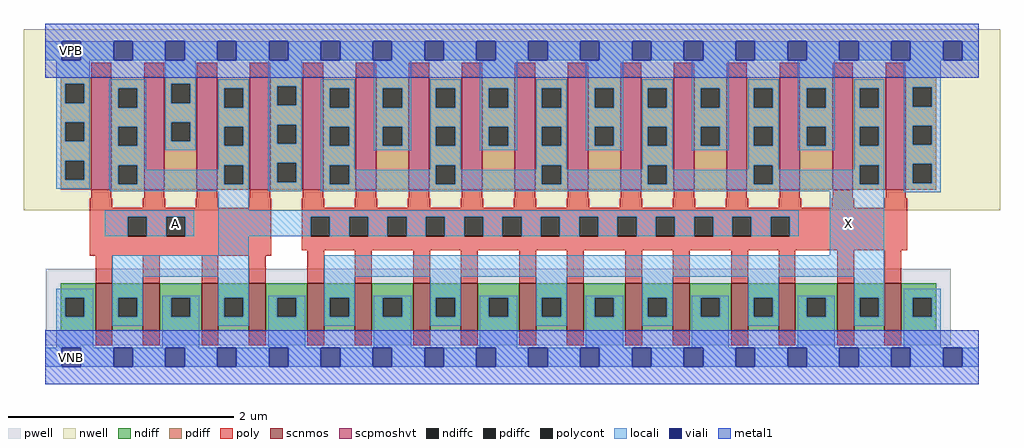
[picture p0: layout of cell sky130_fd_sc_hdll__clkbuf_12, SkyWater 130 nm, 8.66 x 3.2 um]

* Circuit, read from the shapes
.subckt sky130_fd_sc_hdll__clkbuf_12 A VGND VNB VPB VPWR X
XM1 n1 A VGND VNB sky130_fd_pr__nfet_01v8 w=0.42 l=0.15 m=4
XM2 X n1 VGND VNB sky130_fd_pr__nfet_01v8 w=0.42 l=0.15 m=12
XM3 n1 A VPWR VPB sky130_fd_pr__pfet_01v8_hvt w=1 l=0.18 m=4
XM4 X n1 VPWR VPB sky130_fd_pr__pfet_01v8_hvt w=1 l=0.18 m=12
.ends

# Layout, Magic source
magic
tech sky130A
magscale 1 2
<< nwell >>
rect -38 261 1694 582
<< pwell >>
rect 1 21 1607 157
rect 29 -17 63 21
<< scnmos >>
rect 89 47 119 131
rect 173 47 203 131
rect 277 47 307 131
rect 361 47 391 131
rect 465 47 495 131
rect 549 47 579 131
rect 653 47 683 131
rect 737 47 767 131
rect 841 47 871 131
rect 925 47 955 131
rect 1029 47 1059 131
rect 1113 47 1143 131
rect 1217 47 1247 131
rect 1301 47 1331 131
rect 1405 47 1435 131
rect 1489 47 1519 131
<< scpmoshvt >>
rect 81 297 117 497
rect 175 297 211 497
rect 269 297 305 497
rect 363 297 399 497
rect 457 297 493 497
rect 551 297 587 497
rect 645 297 681 497
rect 739 297 775 497
rect 833 297 869 497
rect 927 297 963 497
rect 1021 297 1057 497
rect 1115 297 1151 497
rect 1209 297 1245 497
rect 1303 297 1339 497
rect 1397 297 1433 497
rect 1491 297 1527 497
<< ndiff >>
rect 27 106 89 131
rect 27 72 35 106
rect 69 72 89 106
rect 27 47 89 72
rect 119 106 173 131
rect 119 72 129 106
rect 163 72 173 106
rect 119 47 173 72
rect 203 106 277 131
rect 203 72 223 106
rect 257 72 277 106
rect 203 47 277 72
rect 307 106 361 131
rect 307 72 317 106
rect 351 72 361 106
rect 307 47 361 72
rect 391 106 465 131
rect 391 72 411 106
rect 445 72 465 106
rect 391 47 465 72
rect 495 106 549 131
rect 495 72 505 106
rect 539 72 549 106
rect 495 47 549 72
rect 579 106 653 131
rect 579 72 599 106
rect 633 72 653 106
rect 579 47 653 72
rect 683 106 737 131
rect 683 72 693 106
rect 727 72 737 106
rect 683 47 737 72
rect 767 106 841 131
rect 767 72 787 106
rect 821 72 841 106
rect 767 47 841 72
rect 871 106 925 131
rect 871 72 881 106
rect 915 72 925 106
rect 871 47 925 72
rect 955 106 1029 131
rect 955 72 975 106
rect 1009 72 1029 106
rect 955 47 1029 72
rect 1059 106 1113 131
rect 1059 72 1069 106
rect 1103 72 1113 106
rect 1059 47 1113 72
rect 1143 106 1217 131
rect 1143 72 1163 106
rect 1197 72 1217 106
rect 1143 47 1217 72
rect 1247 106 1301 131
rect 1247 72 1257 106
rect 1291 72 1301 106
rect 1247 47 1301 72
rect 1331 106 1405 131
rect 1331 72 1351 106
rect 1385 72 1405 106
rect 1331 47 1405 72
rect 1435 106 1489 131
rect 1435 72 1445 106
rect 1479 72 1489 106
rect 1435 47 1489 72
rect 1519 106 1581 131
rect 1519 72 1539 106
rect 1573 72 1581 106
rect 1519 47 1581 72
<< pdiff >>
rect 27 485 81 497
rect 27 451 35 485
rect 69 451 81 485
rect 27 417 81 451
rect 27 383 35 417
rect 69 383 81 417
rect 27 349 81 383
rect 27 315 35 349
rect 69 315 81 349
rect 27 297 81 315
rect 117 477 175 497
rect 117 443 129 477
rect 163 443 175 477
rect 117 409 175 443
rect 117 375 129 409
rect 163 375 175 409
rect 117 341 175 375
rect 117 307 129 341
rect 163 307 175 341
rect 117 297 175 307
rect 211 485 269 497
rect 211 451 223 485
rect 257 451 269 485
rect 211 417 269 451
rect 211 383 223 417
rect 257 383 269 417
rect 211 297 269 383
rect 305 477 363 497
rect 305 443 317 477
rect 351 443 363 477
rect 305 409 363 443
rect 305 375 317 409
rect 351 375 363 409
rect 305 341 363 375
rect 305 307 317 341
rect 351 307 363 341
rect 305 297 363 307
rect 399 481 457 497
rect 399 447 411 481
rect 445 447 457 481
rect 399 413 457 447
rect 399 379 411 413
rect 445 379 457 413
rect 399 345 457 379
rect 399 311 411 345
rect 445 311 457 345
rect 399 297 457 311
rect 493 477 551 497
rect 493 443 505 477
rect 539 443 551 477
rect 493 409 551 443
rect 493 375 505 409
rect 539 375 551 409
rect 493 341 551 375
rect 493 307 505 341
rect 539 307 551 341
rect 493 297 551 307
rect 587 477 645 497
rect 587 443 599 477
rect 633 443 645 477
rect 587 409 645 443
rect 587 375 599 409
rect 633 375 645 409
rect 587 297 645 375
rect 681 477 739 497
rect 681 443 693 477
rect 727 443 739 477
rect 681 409 739 443
rect 681 375 693 409
rect 727 375 739 409
rect 681 341 739 375
rect 681 307 693 341
rect 727 307 739 341
rect 681 297 739 307
rect 775 477 833 497
rect 775 443 787 477
rect 821 443 833 477
rect 775 409 833 443
rect 775 375 787 409
rect 821 375 833 409
rect 775 297 833 375
rect 869 477 927 497
rect 869 443 881 477
rect 915 443 927 477
rect 869 409 927 443
rect 869 375 881 409
rect 915 375 927 409
rect 869 341 927 375
rect 869 307 881 341
rect 915 307 927 341
rect 869 297 927 307
rect 963 477 1021 497
rect 963 443 975 477
rect 1009 443 1021 477
rect 963 409 1021 443
rect 963 375 975 409
rect 1009 375 1021 409
rect 963 297 1021 375
rect 1057 477 1115 497
rect 1057 443 1069 477
rect 1103 443 1115 477
rect 1057 409 1115 443
rect 1057 375 1069 409
rect 1103 375 1115 409
rect 1057 341 1115 375
rect 1057 307 1069 341
rect 1103 307 1115 341
rect 1057 297 1115 307
rect 1151 477 1209 497
rect 1151 443 1163 477
rect 1197 443 1209 477
rect 1151 409 1209 443
rect 1151 375 1163 409
rect 1197 375 1209 409
rect 1151 297 1209 375
rect 1245 477 1303 497
rect 1245 443 1257 477
rect 1291 443 1303 477
rect 1245 409 1303 443
rect 1245 375 1257 409
rect 1291 375 1303 409
rect 1245 341 1303 375
rect 1245 307 1257 341
rect 1291 307 1303 341
rect 1245 297 1303 307
rect 1339 477 1397 497
rect 1339 443 1351 477
rect 1385 443 1397 477
rect 1339 409 1397 443
rect 1339 375 1351 409
rect 1385 375 1397 409
rect 1339 297 1397 375
rect 1433 477 1491 497
rect 1433 443 1445 477
rect 1479 443 1491 477
rect 1433 409 1491 443
rect 1433 375 1445 409
rect 1479 375 1491 409
rect 1433 341 1491 375
rect 1433 307 1445 341
rect 1479 307 1491 341
rect 1433 297 1491 307
rect 1527 479 1581 497
rect 1527 445 1539 479
rect 1573 445 1581 479
rect 1527 411 1581 445
rect 1527 377 1539 411
rect 1573 377 1581 411
rect 1527 343 1581 377
rect 1527 309 1539 343
rect 1573 309 1581 343
rect 1527 297 1581 309
<< ndiffc >>
rect 35 72 69 106
rect 129 72 163 106
rect 223 72 257 106
rect 317 72 351 106
rect 411 72 445 106
rect 505 72 539 106
rect 599 72 633 106
rect 693 72 727 106
rect 787 72 821 106
rect 881 72 915 106
rect 975 72 1009 106
rect 1069 72 1103 106
rect 1163 72 1197 106
rect 1257 72 1291 106
rect 1351 72 1385 106
rect 1445 72 1479 106
rect 1539 72 1573 106
<< pdiffc >>
rect 35 451 69 485
rect 35 383 69 417
rect 35 315 69 349
rect 129 443 163 477
rect 129 375 163 409
rect 129 307 163 341
rect 223 451 257 485
rect 223 383 257 417
rect 317 443 351 477
rect 317 375 351 409
rect 317 307 351 341
rect 411 447 445 481
rect 411 379 445 413
rect 411 311 445 345
rect 505 443 539 477
rect 505 375 539 409
rect 505 307 539 341
rect 599 443 633 477
rect 599 375 633 409
rect 693 443 727 477
rect 693 375 727 409
rect 693 307 727 341
rect 787 443 821 477
rect 787 375 821 409
rect 881 443 915 477
rect 881 375 915 409
rect 881 307 915 341
rect 975 443 1009 477
rect 975 375 1009 409
rect 1069 443 1103 477
rect 1069 375 1103 409
rect 1069 307 1103 341
rect 1163 443 1197 477
rect 1163 375 1197 409
rect 1257 443 1291 477
rect 1257 375 1291 409
rect 1257 307 1291 341
rect 1351 443 1385 477
rect 1351 375 1385 409
rect 1445 443 1479 477
rect 1445 375 1479 409
rect 1445 307 1479 341
rect 1539 445 1573 479
rect 1539 377 1573 411
rect 1539 309 1573 343
<< poly >>
rect 81 497 117 523
rect 175 497 211 523
rect 269 497 305 523
rect 363 497 399 523
rect 457 497 493 523
rect 551 497 587 523
rect 645 497 681 523
rect 739 497 775 523
rect 833 497 869 523
rect 927 497 963 523
rect 1021 497 1057 523
rect 1115 497 1151 523
rect 1209 497 1245 523
rect 1303 497 1339 523
rect 1397 497 1433 523
rect 1491 497 1527 523
rect 81 282 117 297
rect 175 282 211 297
rect 269 282 305 297
rect 363 282 399 297
rect 457 282 493 297
rect 551 282 587 297
rect 645 282 681 297
rect 739 282 775 297
rect 833 282 869 297
rect 927 282 963 297
rect 1021 282 1057 297
rect 1115 282 1151 297
rect 1209 282 1245 297
rect 1303 282 1339 297
rect 1397 282 1433 297
rect 1491 282 1527 297
rect 79 265 119 282
rect 173 265 213 282
rect 267 265 307 282
rect 361 265 401 282
rect 79 249 401 265
rect 79 215 146 249
rect 180 215 214 249
rect 248 215 401 249
rect 79 180 401 215
rect 455 265 495 282
rect 549 265 589 282
rect 643 265 683 282
rect 737 265 777 282
rect 831 265 871 282
rect 925 265 965 282
rect 1019 265 1059 282
rect 1113 265 1153 282
rect 1207 265 1247 282
rect 1301 265 1341 282
rect 1395 265 1435 282
rect 1489 265 1529 282
rect 455 249 1529 265
rect 455 215 471 249
rect 505 215 539 249
rect 573 215 607 249
rect 641 215 675 249
rect 709 215 743 249
rect 777 215 811 249
rect 845 215 879 249
rect 913 215 947 249
rect 981 215 1015 249
rect 1049 215 1083 249
rect 1117 215 1151 249
rect 1185 215 1219 249
rect 1253 215 1287 249
rect 1321 215 1529 249
rect 455 190 1529 215
rect 89 131 119 180
rect 173 131 203 180
rect 277 131 307 180
rect 361 131 391 180
rect 465 131 495 190
rect 549 131 579 190
rect 653 131 683 190
rect 737 131 767 190
rect 841 131 871 190
rect 925 131 955 190
rect 1029 131 1059 190
rect 1113 131 1143 190
rect 1217 131 1247 190
rect 1301 131 1331 190
rect 1405 131 1435 190
rect 1489 131 1519 190
rect 89 21 119 47
rect 173 21 203 47
rect 277 21 307 47
rect 361 21 391 47
rect 465 21 495 47
rect 549 21 579 47
rect 653 21 683 47
rect 737 21 767 47
rect 841 21 871 47
rect 925 21 955 47
rect 1029 21 1059 47
rect 1113 21 1143 47
rect 1217 21 1247 47
rect 1301 21 1331 47
rect 1405 21 1435 47
rect 1489 21 1519 47
<< polycont >>
rect 146 215 180 249
rect 214 215 248 249
rect 471 215 505 249
rect 539 215 573 249
rect 607 215 641 249
rect 675 215 709 249
rect 743 215 777 249
rect 811 215 845 249
rect 879 215 913 249
rect 947 215 981 249
rect 1015 215 1049 249
rect 1083 215 1117 249
rect 1151 215 1185 249
rect 1219 215 1253 249
rect 1287 215 1321 249
<< locali >>
rect 0 527 29 561
rect 63 527 121 561
rect 155 527 213 561
rect 247 527 305 561
rect 339 527 397 561
rect 431 527 489 561
rect 523 527 581 561
rect 615 527 673 561
rect 707 527 765 561
rect 799 527 857 561
rect 891 527 949 561
rect 983 527 1041 561
rect 1075 527 1133 561
rect 1167 527 1225 561
rect 1259 527 1317 561
rect 1351 527 1409 561
rect 1443 527 1501 561
rect 1535 527 1593 561
rect 1627 527 1656 561
rect 19 485 79 527
rect 19 451 35 485
rect 69 451 79 485
rect 19 417 79 451
rect 19 383 35 417
rect 69 383 79 417
rect 19 349 79 383
rect 19 315 35 349
rect 69 315 79 349
rect 19 299 79 315
rect 113 477 179 493
rect 113 443 129 477
rect 163 443 179 477
rect 113 409 179 443
rect 113 375 129 409
rect 163 375 179 409
rect 113 341 179 375
rect 213 485 267 527
rect 213 451 223 485
rect 257 451 267 485
rect 213 417 267 451
rect 213 383 223 417
rect 257 383 267 417
rect 213 367 267 383
rect 307 477 361 493
rect 307 443 317 477
rect 351 443 361 477
rect 307 409 361 443
rect 307 375 317 409
rect 351 375 361 409
rect 113 307 129 341
rect 163 333 179 341
rect 307 341 361 375
rect 307 333 317 341
rect 163 307 317 333
rect 351 307 361 341
rect 113 299 361 307
rect 114 295 361 299
rect 395 481 455 527
rect 395 447 411 481
rect 445 447 455 481
rect 395 413 455 447
rect 395 379 411 413
rect 445 379 455 413
rect 395 345 455 379
rect 395 311 411 345
rect 445 311 455 345
rect 395 295 455 311
rect 489 477 549 493
rect 489 443 505 477
rect 539 443 549 477
rect 489 409 549 443
rect 489 375 505 409
rect 539 375 549 409
rect 489 341 549 375
rect 583 477 649 527
rect 583 443 599 477
rect 633 443 649 477
rect 583 409 649 443
rect 583 375 599 409
rect 633 375 649 409
rect 583 367 649 375
rect 683 477 737 493
rect 683 443 693 477
rect 727 443 737 477
rect 683 409 737 443
rect 683 375 693 409
rect 727 375 737 409
rect 489 307 505 341
rect 539 333 549 341
rect 683 341 737 375
rect 771 477 837 527
rect 771 443 787 477
rect 821 443 837 477
rect 771 409 837 443
rect 771 375 787 409
rect 821 375 837 409
rect 771 367 837 375
rect 871 477 925 493
rect 871 443 881 477
rect 915 443 925 477
rect 871 409 925 443
rect 871 375 881 409
rect 915 375 925 409
rect 683 333 693 341
rect 539 307 693 333
rect 727 333 737 341
rect 871 341 925 375
rect 959 477 1025 527
rect 959 443 975 477
rect 1009 443 1025 477
rect 959 409 1025 443
rect 959 375 975 409
rect 1009 375 1025 409
rect 959 367 1025 375
rect 1059 477 1113 493
rect 1059 443 1069 477
rect 1103 443 1113 477
rect 1059 409 1113 443
rect 1059 375 1069 409
rect 1103 375 1113 409
rect 871 333 881 341
rect 727 307 881 333
rect 915 333 925 341
rect 1059 341 1113 375
rect 1147 477 1213 527
rect 1147 443 1163 477
rect 1197 443 1213 477
rect 1147 409 1213 443
rect 1147 375 1163 409
rect 1197 375 1213 409
rect 1147 367 1213 375
rect 1247 477 1301 493
rect 1247 443 1257 477
rect 1291 443 1301 477
rect 1247 409 1301 443
rect 1247 375 1257 409
rect 1291 375 1301 409
rect 1059 333 1069 341
rect 915 307 1069 333
rect 1103 333 1113 341
rect 1247 341 1301 375
rect 1335 477 1401 527
rect 1335 443 1351 477
rect 1385 443 1401 477
rect 1335 409 1401 443
rect 1335 375 1351 409
rect 1385 375 1401 409
rect 1335 367 1401 375
rect 1435 477 1489 493
rect 1435 443 1445 477
rect 1479 443 1489 477
rect 1435 409 1489 443
rect 1435 375 1445 409
rect 1479 375 1489 409
rect 1247 333 1257 341
rect 1103 307 1257 333
rect 1291 333 1301 341
rect 1435 341 1489 375
rect 1435 333 1445 341
rect 1291 307 1445 333
rect 1479 307 1489 341
rect 489 295 1489 307
rect 307 261 361 295
rect 105 249 264 261
rect 105 215 146 249
rect 180 215 214 249
rect 248 215 264 249
rect 307 249 1337 261
rect 307 215 471 249
rect 505 215 539 249
rect 573 215 607 249
rect 641 215 675 249
rect 709 215 743 249
rect 777 215 811 249
rect 845 215 879 249
rect 913 215 947 249
rect 981 215 1015 249
rect 1049 215 1083 249
rect 1117 215 1151 249
rect 1185 215 1219 249
rect 1253 215 1287 249
rect 1321 215 1337 249
rect 307 181 361 215
rect 1392 181 1489 295
rect 1523 479 1589 527
rect 1523 445 1539 479
rect 1573 445 1589 479
rect 1523 411 1589 445
rect 1523 377 1539 411
rect 1573 377 1589 411
rect 1523 343 1589 377
rect 1523 309 1539 343
rect 1573 309 1589 343
rect 1523 293 1589 309
rect 119 143 361 181
rect 19 106 85 122
rect 19 72 35 106
rect 69 72 85 106
rect 19 17 85 72
rect 119 106 173 143
rect 119 72 129 106
rect 163 72 173 106
rect 119 56 173 72
rect 207 106 273 109
rect 207 72 223 106
rect 257 72 273 106
rect 207 17 273 72
rect 307 106 361 143
rect 495 143 1489 181
rect 307 72 317 106
rect 351 72 361 106
rect 307 56 361 72
rect 395 106 461 109
rect 395 72 411 106
rect 445 72 461 106
rect 395 17 461 72
rect 495 106 549 143
rect 495 72 505 106
rect 539 72 549 106
rect 495 56 549 72
rect 583 106 649 109
rect 583 72 599 106
rect 633 72 649 106
rect 583 17 649 72
rect 683 106 737 143
rect 683 72 693 106
rect 727 72 737 106
rect 683 56 737 72
rect 771 106 837 109
rect 771 72 787 106
rect 821 72 837 106
rect 771 17 837 72
rect 871 106 925 143
rect 871 72 881 106
rect 915 72 925 106
rect 871 56 925 72
rect 959 106 1025 109
rect 959 72 975 106
rect 1009 72 1025 106
rect 959 17 1025 72
rect 1059 106 1113 143
rect 1059 72 1069 106
rect 1103 72 1113 106
rect 1059 56 1113 72
rect 1147 106 1213 109
rect 1147 72 1163 106
rect 1197 72 1213 106
rect 1147 17 1213 72
rect 1247 106 1301 143
rect 1247 72 1257 106
rect 1291 72 1301 106
rect 1247 56 1301 72
rect 1335 106 1401 109
rect 1335 72 1351 106
rect 1385 72 1401 106
rect 1335 17 1401 72
rect 1435 106 1489 143
rect 1435 72 1445 106
rect 1479 72 1489 106
rect 1435 56 1489 72
rect 1523 106 1589 122
rect 1523 72 1539 106
rect 1573 72 1589 106
rect 1523 17 1589 72
rect 0 -17 29 17
rect 63 -17 121 17
rect 155 -17 213 17
rect 247 -17 305 17
rect 339 -17 397 17
rect 431 -17 489 17
rect 523 -17 581 17
rect 615 -17 673 17
rect 707 -17 765 17
rect 799 -17 857 17
rect 891 -17 949 17
rect 983 -17 1041 17
rect 1075 -17 1133 17
rect 1167 -17 1225 17
rect 1259 -17 1317 17
rect 1351 -17 1409 17
rect 1443 -17 1501 17
rect 1535 -17 1593 17
rect 1627 -17 1656 17
<< viali >>
rect 29 527 63 561
rect 121 527 155 561
rect 213 527 247 561
rect 305 527 339 561
rect 397 527 431 561
rect 489 527 523 561
rect 581 527 615 561
rect 673 527 707 561
rect 765 527 799 561
rect 857 527 891 561
rect 949 527 983 561
rect 1041 527 1075 561
rect 1133 527 1167 561
rect 1225 527 1259 561
rect 1317 527 1351 561
rect 1409 527 1443 561
rect 1501 527 1535 561
rect 1593 527 1627 561
rect 29 -17 63 17
rect 121 -17 155 17
rect 213 -17 247 17
rect 305 -17 339 17
rect 397 -17 431 17
rect 489 -17 523 17
rect 581 -17 615 17
rect 673 -17 707 17
rect 765 -17 799 17
rect 857 -17 891 17
rect 949 -17 983 17
rect 1041 -17 1075 17
rect 1133 -17 1167 17
rect 1225 -17 1259 17
rect 1317 -17 1351 17
rect 1409 -17 1443 17
rect 1501 -17 1535 17
rect 1593 -17 1627 17
<< metal1 >>
rect 0 561 1656 592
rect 0 527 29 561
rect 63 527 121 561
rect 155 527 213 561
rect 247 527 305 561
rect 339 527 397 561
rect 431 527 489 561
rect 523 527 581 561
rect 615 527 673 561
rect 707 527 765 561
rect 799 527 857 561
rect 891 527 949 561
rect 983 527 1041 561
rect 1075 527 1133 561
rect 1167 527 1225 561
rect 1259 527 1317 561
rect 1351 527 1409 561
rect 1443 527 1501 561
rect 1535 527 1593 561
rect 1627 527 1656 561
rect 0 496 1656 527
rect 0 17 1656 48
rect 0 -17 29 17
rect 63 -17 121 17
rect 155 -17 213 17
rect 247 -17 305 17
rect 339 -17 397 17
rect 431 -17 489 17
rect 523 -17 581 17
rect 615 -17 673 17
rect 707 -17 765 17
rect 799 -17 857 17
rect 891 -17 949 17
rect 983 -17 1041 17
rect 1075 -17 1133 17
rect 1167 -17 1225 17
rect 1259 -17 1317 17
rect 1351 -17 1409 17
rect 1443 -17 1501 17
rect 1535 -17 1593 17
rect 1627 -17 1656 17
rect 0 -48 1656 -17
<< labels >>
flabel locali s 213 221 247 255 0 FreeSans 200 0 0 0 A
port 1 nsew signal input
flabel locali s 1409 221 1443 255 0 FreeSans 200 0 0 0 X
port 6 nsew signal output
flabel nwell s 29 527 63 561 0 FreeSans 200 0 0 0 VPB
port 4 nsew power bidirectional
flabel pwell s 29 -17 63 17 0 FreeSans 200 0 0 0 VNB
port 3 nsew ground bidirectional
flabel metal1 s 29 -17 63 17 0 FreeSans 200 0 0 0 VGND
port 2 nsew ground bidirectional
flabel metal1 s 29 527 63 561 0 FreeSans 200 0 0 0 VPWR
port 5 nsew power bidirectional
rlabel comment s 0 0 0 0 4 clkbuf_12
<< properties >>
string LEFsite unithd
string LEFclass CORE
string FIXED_BBOX 0 0 1656 544
string GDS_FILE $PDKPATH/libs.ref/sky130_fd_sc_hdll/gds/sky130_fd_sc_hdll.gds
string LEFsymmetry X Y R90
string GDS_END 902024
string GDS_START 890252
string LEFproperties maskLayoutSubType "abstract" prCellType "standard" originalViewName "layout"
<< end >>
